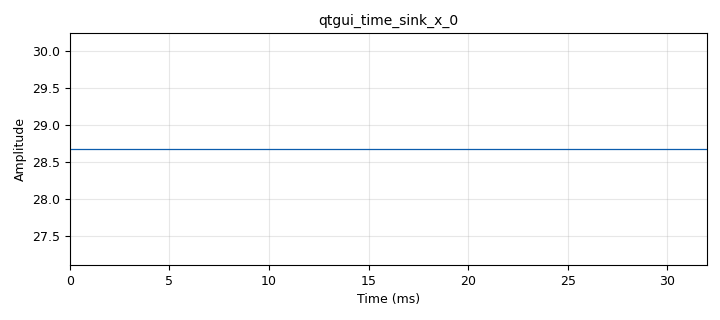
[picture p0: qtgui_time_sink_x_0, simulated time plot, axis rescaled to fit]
options:
  parameters:
    generate_options: qt_gui
    id: Ejercicio9fb
    output_language: python
    title: Not titled yet
  states: {}

blocks:
- name: samp_rate
  id: variable
  parameters:
    value: '32000'
  states: {}
- name: analog_sig_source_x_0_0
  id: analog_sig_source_x
  parameters:
    amp: '1'
    freq: '100'
    offset: '0'
    phase: '0'
    samp_rate: samp_rate
    type: float
    waveform: analog.GR_SIN_WAVE
  states: {}
- name: analog_sig_source_x_0_0_0
  id: analog_sig_source_x
  parameters:
    amp: '1'
    freq: '100'
    offset: '0'
    phase: '0'
    samp_rate: samp_rate
    type: float
    waveform: analog.GR_SIN_WAVE
  states: {}
- name: blocks_divide_xx_0
  id: blocks_divide_xx
  parameters:
    type: float
  states: {}
- name: blocks_sub_xx_0
  id: blocks_sub_xx
  parameters:
    type: float
  states: {}
- name: blocks_throttle_0_0
  id: blocks_throttle
  parameters:
    samples_per_second: samp_rate
    type: float
  states: {}
- name: channels_quantizer_0_0
  id: channels_quantizer
  parameters:
    bits: '2'
  states: {}
- name: epy_block_0_0
  id: epy_block
  parameters:
    _source_code: |-
      import numpy as np
      from gnuradio import gr
      class blk(gr.sync_block):
      	def __init__(self):
      	 gr.sync_block.__init__(
      	  self,
      	  name='Potencia media',
      	  in_sig=[np.float32],
      	  out_sig=[np.float32]
      	 )
      	def work(self, input_items, output_items):
      	 prom_cuadratico = np.mean(input_items[0] **2)
      	 prom_vec = np.repeat(prom_cuadratico,len(output_items[0]))
      	 output_items[0][:] = prom_vec
      	 return len(output_items[0])
  states: {}
- name: epy_block_0_0_0
  id: epy_block
  parameters:
    _source_code: |-
      import numpy as np
      from gnuradio import gr
      class blk(gr.sync_block):
      	def __init__(self):
      	 gr.sync_block.__init__(
      	  self,
      	  name='Potencia media',
      	  in_sig=[np.float32],
      	  out_sig=[np.float32]
      	 )
      	def work(self, input_items, output_items):
      	 prom_cuadratico = np.mean(input_items[0] **2)
      	 prom_vec = np.repeat(prom_cuadratico,len(output_items[0]))
      	 output_items[0][:] = prom_vec
      	 return len(output_items[0])
  states: {}
- name: qtgui_time_sink_x_0
  id: qtgui_time_sink_x
  parameters:
    ctrlpanel: 'True'
    size: '1024'
    srate: samp_rate
    type: float
  states: {}

connections:
- [analog_sig_source_x_0_0, '0', blocks_throttle_0_0, '0']
- [analog_sig_source_x_0_0_0, '0', epy_block_0_0_0, '0']
- [blocks_divide_xx_0, '0', qtgui_time_sink_x_0, '0']
- [blocks_sub_xx_0, '0', epy_block_0_0, '0']
- [blocks_throttle_0_0, '0', blocks_sub_xx_0, '1']
- [blocks_throttle_0_0, '0', channels_quantizer_0_0, '0']
- [channels_quantizer_0_0, '0', blocks_sub_xx_0, '0']
- [epy_block_0_0, '0', blocks_divide_xx_0, '1']
- [epy_block_0_0_0, '0', blocks_divide_xx_0, '0']

metadata:
  file_format: 1
  grc_version: 3.10.3.0
